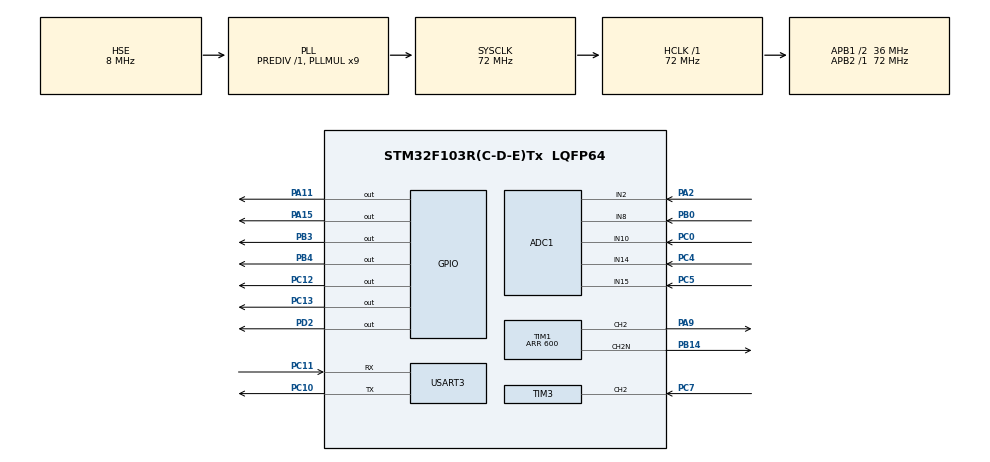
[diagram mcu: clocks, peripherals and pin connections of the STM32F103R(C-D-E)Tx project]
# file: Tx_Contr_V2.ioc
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ADC1.AutoInjectedConv=DISABLE
ADC1.Channel-0\#ChannelRegularConversion=ADC_CHANNEL_2
ADC1.Channel-1\#ChannelRegularConversion=ADC_CHANNEL_8
ADC1.Channel-2\#ChannelRegularConversion=ADC_CHANNEL_10
ADC1.Channel-3\#ChannelRegularConversion=ADC_CHANNEL_14
ADC1.Channel-4\#ChannelRegularConversion=ADC_CHANNEL_15
ADC1.InjectedDiscontinuousConvMode=DISABLE
ADC1.NbrOfConversion=5
ADC1.NbrOfConversionFlag=1
ADC1.Rank-0\#ChannelRegularConversion=1
ADC1.Rank-1\#ChannelRegularConversion=2
ADC1.Rank-2\#ChannelRegularConversion=3
ADC1.Rank-3\#ChannelRegularConversion=4
ADC1.Rank-4\#ChannelRegularConversion=5
ADC1.SamplingTime-0\#ChannelRegularConversion=ADC_SAMPLETIME_1CYCLE_5
ADC1.SamplingTime-1\#ChannelRegularConversion=ADC_SAMPLETIME_1CYCLE_5
ADC1.SamplingTime-2\#ChannelRegularConversion=ADC_SAMPLETIME_1CYCLE_5
ADC1.SamplingTime-3\#ChannelRegularConversion=ADC_SAMPLETIME_1CYCLE_5
ADC1.SamplingTime-4\#ChannelRegularConversion=ADC_SAMPLETIME_1CYCLE_5
ADC1.master=1
Dma.ADC1.1.Direction=DMA_PERIPH_TO_MEMORY
Dma.ADC1.1.Instance=DMA1_Channel1
Dma.ADC1.1.MemDataAlignment=DMA_MDATAALIGN_WORD
Dma.ADC1.1.MemInc=DMA_MINC_ENABLE
Dma.ADC1.1.Mode=DMA_NORMAL
Dma.ADC1.1.PeriphDataAlignment=DMA_PDATAALIGN_WORD
Dma.ADC1.1.PeriphInc=DMA_PINC_DISABLE
Dma.ADC1.1.Priority=DMA_PRIORITY_LOW
Dma.Request0=USART3_TX
Dma.Request1=ADC1
Dma.USART3_TX.0.Direction=DMA_MEMORY_TO_PERIPH
Dma.USART3_TX.0.Instance=DMA1_Channel2
Dma.USART3_TX.0.MemDataAlignment=DMA_MDATAALIGN_BYTE
Dma.USART3_TX.0.MemInc=DMA_MINC_ENABLE
Dma.USART3_TX.0.Mode=DMA_NORMAL
Dma.USART3_TX.0.PeriphDataAlignment=DMA_PDATAALIGN_BYTE
Dma.USART3_TX.0.PeriphInc=DMA_PINC_DISABLE
Dma.USART3_TX.0.Priority=DMA_PRIORITY_LOW
IWDG.Prescaler=IWDG_PRESCALER_64
Mcu.Family=STM32F1
Mcu.Name=STM32F103R(C-D-E)Tx
Mcu.Package=LQFP64
NVIC.ADC1_2_IRQn=true\:0\:0\:false\:false\:true
NVIC.DMA1_Channel1_IRQn=true\:0\:0\:false\:false\:true
NVIC.DMA1_Channel2_IRQn=true\:0\:0\:false\:false\:true
NVIC.PriorityGroup=NVIC_PRIORITYGROUP_4
NVIC.TIM3_IRQn=true\:0\:0\:false\:false\:true
NVIC.TIM7_IRQn=true\:0\:0\:false\:false\:true
NVIC.USART3_IRQn=true\:0\:0\:false\:false\:true
PA11.Signal=GPIO_Output
PA15.Signal=GPIO_Output
PA2.Signal=ADCx_IN2
PA9.Signal=S_TIM1_CH2
PB0.Signal=ADCx_IN8
PB14.Mode=PWM Generation2 CH2 CH2N
PB14.Signal=TIM1_CH2N
PB3.Signal=GPIO_Output
PB4.Signal=GPIO_Output
PC0.Signal=ADCx_IN10
PC10.Mode=Asynchronous
PC10.Signal=USART3_TX
PC11.Mode=Asynchronous
PC11.Signal=USART3_RX
PC12.Signal=GPIO_Output
PC13-TAMPER-RTC.Signal=GPIO_Output
PC4.Signal=ADCx_IN14
PC5.Signal=ADCx_IN15
PC7.Signal=S_TIM3_CH2
PD0-OSC_IN.Mode=HSE-External-Oscillator
PD0-OSC_IN.Signal=RCC_OSC_IN
PD1-OSC_OUT.Mode=HSE-External-Oscillator
PD1-OSC_OUT.Signal=RCC_OSC_OUT
PD2.Signal=GPIO_Output
ProjectManager.HeapSize=0x200
ProjectManager.StackSize=0x400
ProjectManager.TargetToolchain=MDK-ARM V5
RCC.ADCPresc=RCC_ADCPCLK2_DIV6
RCC.AHBCLKDivider=RCC_SYSCLK_DIV1
RCC.AHBFreq_Value=72000000
RCC.APB1CLKDivider=RCC_HCLK_DIV2
RCC.APB1Freq_Value=36000000
RCC.APB1TimFreq_Value=72000000
RCC.APB2Freq_Value=72000000
RCC.APB2TimFreq_Value=72000000
RCC.ClockTypeHCLK=RCC_CLOCKTYPE_HCLK
RCC.ClockTypePCLK1=RCC_CLOCKTYPE_PCLK1
RCC.ClockTypePCLK2=RCC_CLOCKTYPE_PCLK2
RCC.EnableHSE=true
RCC.EnableHSERTCDevisor=false
RCC.EnableLSE=false
RCC.EnableLSERTC=false
RCC.EnableMCOMultDivisor=false
RCC.HCLKFreq_Value=72000000
RCC.HSEState=RCC_HSE_ON
RCC.HSIState=RCC_HSI_ON
RCC.IWDGEnable=true
RCC.LSIState=RCC_LSI_ON
RCC.MCOEnable=false
RCC.OscillatorTypeHSE=RCC_OSCILLATORTYPE_HSE
RCC.OscillatorTypeHSI=RCC_OSCILLATORTYPE_HSI
RCC.OscillatorTypeLSI=RCC_OSCILLATORTYPE_LSI
RCC.PLLMUL=RCC_PLL_MUL9
RCC.PLLSource=RCC_PLLSOURCE_HSE
RCC.PLLSourceVirtual=RCC_PLLSOURCE_HSE
RCC.PLLState=RCC_PLL_ON
RCC.RTCEnable=false
RCC.SYSCLKFreq_VALUE=72000000
RCC.SYSCLKSource=RCC_SYSCLKSOURCE_PLLCLK
RCC.USBFreq_Value=72000000
SH.ADCx_IN10.0=ADC1_IN10,IN10
SH.ADCx_IN14.0=ADC1_IN14,IN14
SH.ADCx_IN15.0=ADC1_IN15,IN15
SH.ADCx_IN2.0=ADC1_IN2,IN2
SH.ADCx_IN8.0=ADC1_IN8,IN8
SH.S_TIM1_CH2.0=TIM1_CH2,PWM Generation2 CH2 CH2N
SH.S_TIM3_CH2.0=TIM3_CH2,Input_Capture2_from_TI2
TIM1.AutomaticOutput=TIM_AUTOMATICOUTPUT_DISABLE
TIM1.Channel-PWM\ Generation2\ CH2\ CH2N=TIM_CHANNEL_2
TIM1.DeadTime=5
TIM1.OCNPolarity_2=TIM_OCNPOLARITY_HIGH
TIM1.Period=600
TIM3.Channel-Input_Capture2_from_TI2=TIM_CHANNEL_2
TIM3.Period=10000
TIM3.Prescaler=71
TIM7.Period=50
TIM7.Prescaler=71
TIM7.TIM_MasterSlaveMode=TIM_MASTERSLAVEMODE_DISABLE
USART3.HwFlowCtl-Asynchronous=UART_HWCONTROL_NONE
USART3.VirtualMode=VM_ASYNC
VP_IWDG_VS_IWDG.Mode=IWDG_Activate
VP_SYS_VS_ND.Mode=No_Debug
VP_TIM7_VS_ClockSourceINT.Mode=Enable_Timer
board=Tx_Contr_V2

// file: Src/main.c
/**
  ******************************************************************************
  * File Name          : main.c
  * Description        : Main program body
  ******************************************************************************
  *
  * COPYRIGHT(c) 2019 STMicroelectronics
  *
  * Redistribution and use in source and binary forms, with or without modification,
  * are permitted provided that the following conditions are met:
  *   1. Redistributions of source code must retain the above copyright notice,
  *      this list of conditions and the following disclaimer.
  *   2. Redistributions in binary form must reproduce the above copyright notice,
  *      this list of conditions and the following disclaimer in the documentation
  *      and/or other materials provided with the distribution.
  *   3. Neither the name of STMicroelectronics nor the names of its contributors
  *      may be used to endorse or promote products derived from this software
  *      without specific prior written permission.
  *
  * THIS SOFTWARE IS PROVIDED BY THE COPYRIGHT HOLDERS AND CONTRIBUTORS "AS IS"
  * AND ANY EXPRESS OR IMPLIED WARRANTIES, INCLUDING, BUT NOT LIMITED TO, THE
  * IMPLIED WARRANTIES OF MERCHANTABILITY AND FITNESS FOR A PARTICULAR PURPOSE ARE
  * DISCLAIMED. IN NO EVENT SHALL THE COPYRIGHT HOLDER OR CONTRIBUTORS BE LIABLE
  * FOR ANY DIRECT, INDIRECT, INCIDENTAL, SPECIAL, EXEMPLARY, OR CONSEQUENTIAL
  * DAMAGES (INCLUDING, BUT NOT LIMITED TO, PROCUREMENT OF SUBSTITUTE GOODS OR
  * SERVICES; LOSS OF USE, DATA, OR PROFITS; OR BUSINESS INTERRUPTION) HOWEVER
  * CAUSED AND ON ANY THEORY OF LIABILITY, WHETHER IN CONTRACT, STRICT LIABILITY,
  * OR TORT (INCLUDING NEGLIGENCE OR OTHERWISE) ARISING IN ANY WAY OUT OF THE USE
  * OF THIS SOFTWARE, EVEN IF ADVISED OF THE POSSIBILITY OF SUCH DAMAGE.
  *
  ******************************************************************************
  */
#include "main.h"
#include "stm32f1xx_hal.h"
#include "adc.h"
#include "dma.h"
#include "iwdg.h"
#include "tim.h"
#include "usart.h"
#include "gpio.h"

/* USER CODE BEGIN PV */
/* Private variables ---------------------------------------------------------*/
//以下是单体桩自身信息
uint8_t Charger_ID;//充电桩编号
uint8_t Charger_State;//充电桩当前状态
uint8_t Charger_Start_Permission;//允许开启充电标志
/***********************************************************
允许开启充电标志仅通过开启指令置1，并将在以下状况出现时清0：
-----正常充电结束
-----命令停止充电
-----红外信号长时中断
-----效率持续过低
-----发射端电流过大或其他故障发生

***********************************************************/

//以下是接收端的相关参数
uint16_t Vot_Rec_Battery,Cur_Rec_Battery,Temp_Rec_Battery;//接收端电池电压、电流、温度
uint32_t Bike_ID;//存储接收到的车辆编码

uint16_t OneSec_Cnt;//一秒钟定时计数，测试使用
uint8_t OneSec_Flag;

//以下是发射端的相关参数
uint32_t ADC_ConvertedValue[5];//存储AD采样结果
uint16_t Vot_Trans_DC,Cur_Trans_DC,Cur_Trans_AC,Temp_Trans_MOS,LED_Trans_Port;
//依次是发射端电压，发射端电流，交流电流幅值，逆变区温度，LED端口电压
uint16_t Freq_Value,Fre_Trans_Inverter,Duty_Trans_Inverter;
uint8_t Fault_Type;//故障类型，值为1-32，高优先级的故障类型可以覆盖低优先级的故障类型
uint8_t Frequency_Scan_State;//表征当前扫频状态
uint16_t Max_Cur_Trans_DC;//记录最大扫频电流值
uint32_t Max_Cur_Trans_Frequency;//记录最大扫频电流值对应的频率点
uint8_t Trans_OverCurrent_Alert;//发射端过电流告警
uint8_t Trans_OverCurrent_Alert_Read;//置1表示过流告警已被主程序知晓
uint16_t Vot_Limit_Trans,Cur_Limit_Trans;//发射端充电控制的电压电流限值，通过充电指令下发
uint16_t Charging_ComptCnt;//充电完成计数
uint8_t Low_Efficiency_Cnt;//低效率计数
uint8_t Low_Efficiency_Restart_Cnt;//在效率持续过低时，系统会重新扫频，用该变量进行重新扫频计数，超过3次后，结束充电
uint8_t Relay_State;//备用
uint16_t Power_Trans_Refer_Int;//把参考功率转化为整形变量，通过485传送给总控

//以下是红外接收所使用的变量
uint8_t RmtSta,RDATA;//RDATA用以标识当前是上升沿捕获还是下降沿捕获
//[7]:收到引导码标志
//[6]:接收到了一个红外的所有信息，标志完成了一次接收
//[5]：保留
//[4]:标记上升沿是否已经被捕获
//[3:0]:溢出计时器
uint16_t Dval[35];//下降沿时计数器的值
uint32_t RmtRec=0;//红外接收到的数据
uint32_t RmtRecTx=0;//用来串口发射
uint8_t CapCnt=0;//捕获次数
uint16_t Tep;
uint8_t Zhen_Jiaoyan,Data_Jiaoyan;//Zhen_Jiaoyan就是取字头，判断是第几帧，Data_Jiaoyan是判断内部的数据校验
uint8_t Flag_Infrared_Error;//红外接收错误计数
uint8_t Infrared_Error_Location;

uint32_t Infrared_Rec_Succ_Cnt;//红外接收成功计数
uint16_t Infrared_Decode_Error_Cnt;//红外解码错误计数
uint32_t Infrared_Waiting_First_Cnt;//第一类帧延时计数
uint32_t Infrared_Waiting_First_First_Cnt;//第一类帧第一分帧延时计数
uint32_t Infrared_Waiting_First_Second_Cnt;//第一类帧第二分帧延时计数
uint32_t Infrared_Waiting_Second_Cnt;//第二类帧延时计数
uint32_t Infrared_Waiting_Third_Cnt;//第三类帧延时计数
uint32_t Infrared_Rec_Error_Cnt;//红外接收错误计数
uint8_t  Flag_Infrared_Data_OK;//表征数据解析OK，可根据该标志进行控制
uint16_t Infrared_Total_Waiting_Cnt;//表征有多长时间未接收到任意类型的红外信号，超过60s，清零接收成功、解码错误、接收错误等计数
uint32_t Infrary_First_Data_First,Infrary_First_Data_Second;

//485通信相关变量
uint8_t Flag_Trans_Done,Flag_Rece_Done,TimeCnt485;
uint8_t Flag_StartByte;//表征是否检测到字头
uint8_t Byte_Cnt;//对接收字节的数量进行计数
uint8_t Data_ReceArray[8];//存储接收到的串口数据，8个字节为一组，超时未接收完成则全部舍弃
uint8_t Data_ReceSingle;//单个接收字节
uint8_t Flag_485_Reset;//每隔5秒，判断一下485的状态，并作相应处理

uint8_t All_Data_Package[89];//全部信息打包
uint8_t State_Data_Package[11];//状态信息打包
uint8_t Limit_Data_Package[11];//电压及电流限值信息打包
uint8_t Frequency_Data_Package[11];//扫频信息单个频点数据打包

//故障现场数据存储
uint16_t Field_Vot_Trans_DC,Field_Cur_Trans_DC,Field_Cur_Trans_AC,Field_Temp_Trans_MOS,Field_Duty_Trans_Inverter;
uint16_t Field_Vot_Rec_Battery,Field_Cur_Rec_Battery,Field_Temp_Rec_Battery;
uint32_t Field_Freq_Value;
//发射端电压限值电流限值、接收端电压限值电流限值、接收端工作模式在充电过程中并不改变，无需保存现场

//功率效率计算
double Power_Trans,Power_Trans_Refer,Power_Rece,Efficiency,Power_Trans_Refer_Upper;
double K_Power_Trans,K_Power_Rece;

//根据温度值，每隔10s，更新一次功率限值
uint16_t Temp_Refresh_Cnt;
uint8_t  Flag_Temp_Refresh;

//FLASH读取数据
uint32_t ReadFlashData;

//定义控制变量
int16_t Duty_Out;
int32_t DOut,OldOut;
double Power_Error,DError,OldError;
double OldError=0;

/* USER CODE END PV */

void SystemClock_Config(void);
void Error_Handler(void);

/* USER CODE BEGIN PFP */
/* Private function prototypes -----------------------------------------------*/
void Variable_Init(void);//变量初始化赋值
void All_Data_Trans_Packing(void);//全部信息打包
void State_Data_Trans_Packing(void);//状态信息打包
void Limit_Data_Trans_Packing(void);//电压及电流限值信息打包
void Frequency_Data_Trans_Packing(void);//频率信息打包

//红外数据接收解码
void Data_Decode(void);//接收数据解码
void Decode_First(void);//第一类帧解码
void Decode_Second(void);//第二类帧解码
void Decode_Third(void);//第三类帧解码

//扫频函数声明
void Frequency_Scan(void);//调参阶段不带485的扫频
void Frequency_Scan485(void);//根据指令需要的，带485通信的扫频
void Charging_Preparing(void);//扫频成功，进行充电前的各项准备
void Charging_Stopping(void);//红外中断或充电完成或效率持续过低，终止充电

//清空接收端变量
void Clear_Rece_Variables(void);

//故障现场保护
void Fault_Field_Save(void);

//FLASH读写函数声明
uint32_t ReadFlash(uint32_t Address);//读指定位置上的数值，一次读取4个字节
void WriteFlash(uint32_t Address);//向指定地址上写数据，半字操作，即一次写入两个字节

/* USER CODE END PFP */

int main(void)
{

  /* USER CODE BEGIN 1 */
	uint8_t ss,sum;//ss用来做求和校验时for循环使用，sum用来做求和结果
  /* USER CODE END 1 */

  /* MCU Configuration----------------------------------------------------------*/

  /* Reset of all peripherals, Initializes the Flash interface and the Systick. */
  HAL_Init();

  /* Configure the system clock */
  SystemClock_Config();

  /* Initialize all configured peripherals */
  MX_GPIO_Init();
  MX_DMA_Init();
  MX_ADC1_Init();
  MX_USART3_UART_Init();
  MX_TIM1_Init();
  MX_TIM3_Init();
  MX_IWDG_Init();
  MX_TIM7_Init();

  /* USER CODE BEGIN 2 */
	//__HAL_IWDG_START(&hiwdg);//定时1.68秒
	//变量初始化，包括车辆ID的读取，以及一些状态变量的设定
	Variable_Init();
	//使能485接收，开启中断单字节接收模式
	Rece_485_En();
	HAL_UART_Receive_IT(&huart3,&Data_ReceSingle,1);

	//开启定时器3通道2输入捕获，用以红外接收
	HAL_TIM_Base_Start_IT(&htim3);
	HAL_TIM_IC_Start_IT(&htim3,TIM_CHANNEL_2);

	LED_SWITCH_OFF();
	//开启基本定时器7
	HAL_TIM_Base_Start_IT(&htim7);

	/*HAL_TIM_PWM_Start(&htim1,TIM_CHANNEL_2);
	HAL_TIMEx_PWMN_Start(&htim1,TIM_CHANNEL_2);
	Freq_Value=696;
	TIM1->ARR=Freq_Value;
	Duty_Trans_Inverter=Freq_Value/2;
	htim1.Instance->CCR2=Duty_Trans_Inverter;*/

  /* USER CODE END 2 */

  /* Infinite loop */
  while (1)
  {

  /* USER CODE BEGIN 3 */
		//485接收到完整指令，解析指令
		if(Flag_StartByte)
		{
			if(TimeCnt485>50)//已检测到字头，但50ms内未接收完成8个字节，则复位重新接收
			{
				Flag_StartByte=0;
				TimeCnt485=0;
				Byte_Cnt=0;
			}
		}
		//定时时间到，判断485状态，并总是设置为单字节接收模式
		if(Flag_485_Reset)
		{
			Flag_485_Reset=0;
			if(HAL_UART_GetState(&huart3)==HAL_UART_STATE_READY)
			{
				Rece_485_En();
				HAL_UART_Receive_IT(&huart3,&Data_ReceSingle,1);
			}
			else if(HAL_UART_GetState(&huart3)==HAL_UART_STATE_RESET)
			{
				MX_USART3_UART_Init();
				Rece_485_En();
				HAL_UART_Receive_IT(&huart3,&Data_ReceSingle,1);
			}
			else if(HAL_UART_GetState(&huart3)==HAL_UART_STATE_ERROR)
			{
				MX_USART3_UART_Init();
				Rece_485_En();
				HAL_UART_Receive_IT(&huart3,&Data_ReceSingle,1);
			}
			else
				;
		}

		//每隔10秒，更新温度对应的功率上限值
		if(Flag_Temp_Refresh)
		{
			Flag_Temp_Refresh=0;
			if(Temp_Trans_MOS>900)
			{
				Power_Trans_Refer_Upper=200;
			}
			else
			{
				Power_Trans_Refer_Upper=0.333*Temp_Trans_MOS-100;
			}
		}

		if(Flag_Rece_Done)//接收完成8个字节的有效数据，进行处理
		{
			Flag_Rece_Done=0;//先清零接收完成标志
			Data_ReceArray[1]=~Data_ReceArray[1];//先把接收到的编号反码取反
			if(Data_ReceArray[0]==Data_ReceArray[1])//判断接收到的编码是否有误
			{//接收正确的情况下，再判断该编码是否为自身编码
				//LED1_TOGGLE();
				if(Data_ReceArray[0]==Charger_ID)
				{//编码接收正确，且为自身编码，才确定是轮询对象，继续解析指令

					switch(Data_ReceArray[2])
					{
						case 0x0F://查询状态，返回状态结果
						{
							Trans_485_En();
							State_Data_Trans_Packing();
							HAL_UART_Transmit_DMA(&huart3,State_Data_Package,sizeof(State_Data_Package));
							break;
						}
						case 0x1E://开启充电，返回电压限值、电流限值以及继电器状态
						{
							//先判断校验
							sum=0;
							for(ss=3;ss<7;ss++)
							{
								sum+=Data_ReceArray[ss];
							}
							if(sum==Data_ReceArray[7])
							{
								//在进行充电模式转换之前，电压限值要与接收端进行核对，不成功则进行报错
								Vot_Limit_Trans=Data_ReceArray[3]+(Data_ReceArray[5]&0xf0)*16;//提取电压限值数据
								Cur_Limit_Trans=Data_ReceArray[4]+(Data_ReceArray[5]&0x0f)*256;//提取电流限值数据
								Relay_State=Data_ReceArray[6];

								//收到充电指令，清零与接收端和充电过程有关的故障，以及充电完成标志
								Charger_State&=0xf8;//将接收端不可修复故障位，及问题事件标志位，以及充电完成标志位清零，& = 1111, 1000
								if(Fault_Type<16)
									Fault_Type=0;//如果不存在发射端不可修复故障，则将故障类型设为最低

								if((Charger_State&0x80)&&((Charger_State&0x60)==0x00))//检测到车辆，且系统处于停止态，才能对该指令做出响应
								{
									Charging_ComptCnt=0;//充电完成计数清零
									Charger_Start_Permission=1;//允许充电开启
									Trans_485_En();
									Limit_Data_Trans_Packing();//充电限值数据打包
									HAL_UART_Transmit_DMA(&huart3,Limit_Data_Package,sizeof(Limit_Data_Package));
								}
							}
							break;
						}
						case 0x2D://停止充电，返回状态结果
						{
						  Charging_Stopping();
							Trans_485_En();
							State_Data_Trans_Packing();
							HAL_UART_Transmit_DMA(&huart3,State_Data_Package,sizeof(State_Data_Package));
							break;
						}
						case 0x3C://开启扫频
						{
							if((Charger_State&0x60)==0)//先判断是否处于停止态，只有处于停止态，才可以进行扫频动作
							{
								//扫频占空比由指令下发，无论是否检测到车辆，均按指定占空比进行扫频
								Data_ReceArray[4]=~Data_ReceArray[4];//先把继电器反码取反
								if(Data_ReceArray[3]==Data_ReceArray[4])//如果继电器数据有问题，不做应答，总控重下指令
								{
									sum=Data_ReceArray[5]+Data_ReceArray[6];
									if(Data_ReceArray[7]==sum)//判断指令中数据校验是否正确
									{
										Duty_Trans_Inverter=Data_ReceArray[6]*256;
										Duty_Trans_Inverter+=Data_ReceArray[5];//读取指令指定的占空比信息
										htim1.Instance->CCR2=Duty_Trans_Inverter;//先设定扫频占空比
										//设置状态位为指令扫频状态
										Charger_State&=0xBF;//& = 1011 1111 对第七位进行清零
										Charger_State|=0x20;//| = 0010 1111 对第六位进行置1
										Frequency_Scan485();//带485通信的扫频
										Duty_Trans_Inverter=0;//扫频结束，关闭BUCK
										htim1.Instance->CCR2=Duty_Trans_Inverter;
										Freq_Value=0xffff;
							      TIM1->ARR=Freq_Value;//将定时器重装载寄存器填满，降低频率
	                  htim1.Instance->CCR2=0;
	                  HAL_TIM_Base_Stop(&htim1);
	                  HAL_TIM_PWM_Stop(&htim1,TIM_CHANNEL_2);
										Charger_State&=0x9F;//扫频完成，对第七和第六位进行清零，恢复状态位为停止态
									}
								}
							}
							//扫频之前应首先判断是否检测到了车辆，是则使用大占空比，否则使用小占空比
							break;
						}
						case 0x4B://读取单体桩全部信息，返回全部数据
						{
							Trans_485_En();
							All_Data_Trans_Packing();
							HAL_UART_Transmit_DMA(&huart3,All_Data_Package,sizeof(All_Data_Package));
							break;
						}
						case 0x5A://点亮广告灯
						{
							LED_SWITCH_ON();
							Trans_485_En();
							State_Data_Trans_Packing();
							HAL_UART_Transmit_DMA(&huart3,State_Data_Package,sizeof(State_Data_Package));
							break;
						}
						case 0x69://清零复位标志，返回状态信息
						{
							Charger_State&=0xf7;//清零复位标志
							Trans_485_En();
							State_Data_Trans_Packing();
							HAL_UART_Transmit_DMA(&huart3,State_Data_Package,sizeof(State_Data_Package));
							break;
						}
						case 0x78://关闭广告灯
						{
							LED_SWITCH_OFF();
							Trans_485_En();
							State_Data_Trans_Packing();
							HAL_UART_Transmit_DMA(&huart3,State_Data_Package,sizeof(State_Data_Package));
						}
						default: break;
					}
				}
				else if(Data_ReceArray[0]==0xff)//修改单体桩自身ID的指令
				{
					Data_ReceArray[3]=~Data_ReceArray[3];
					if(Data_ReceArray[2]==Data_ReceArray[3])//先校验设定的ID值是否有误
					{
						//设定的ID值通过校验，允许修改及应答
						Charger_ID=Data_ReceArray[2];
						if(Charger_ID>200)
							Charger_ID=101;
						WriteFlash(FLASH_RW_StartAddress);
						Trans_485_En();
						State_Data_Trans_Packing();
						HAL_UART_Transmit_DMA(&huart3,State_Data_Package,sizeof(State_Data_Package));
					}
				}
				else
					;
			}
		}

		//红外接收成功，解析数据
		if(RmtSta&(1<<6))
		{
			if(~Infrared_Rec_Succ_Cnt)//当该变量达到满值全1时，取反即为0，计数就会停止增加
				Infrared_Rec_Succ_Cnt++;
			Infrared_Total_Waiting_Cnt=0;//一旦接收成功，就将红外接收总等待计数清零
			RmtSta&=~(1<<6);//接收成功标志位清零
			Data_Decode();//数据解析
		}
		//红外接收错误，增加错误标志
		if(Flag_Infrared_Error)
		{
			Flag_Infrared_Error=0;
			if(Infrared_Rec_Error_Cnt<0xffffffff)//达到满1时取反为0.停止计数
				Infrared_Rec_Error_Cnt++;
		}
		if(Infrared_Waiting_First_Cnt>3000)//只有处于停止态时，才会进行第一类帧计数自增，停止态如果连续3次收不到编号信息，则设置为未检测到车辆状态
		{
			Charger_State&=0x7f;//超过10s未完整接收第一类帧，认为未检测到车辆，设置标志位
		}
		//如果长时间未接收到任意红外信号，则将接收成功计数、接收失败计数、解码错误计数清零，准备重新计数，该时间段应大于切换到停止态所需要的红外延时计数
		if(Infrared_Total_Waiting_Cnt>60000)//超过60s未接收到任意红外信号
		{
			Infrared_Rec_Succ_Cnt=0;
			Infrared_Decode_Error_Cnt=0;
			Infrared_Rec_Error_Cnt=0;
		}

		//未检测到车辆，LED1熄灭
		if(Charger_State&0x80)//取最高位，判断有无车辆
		{
			LEDG_ON();
		}
		else
		{
			LEDG_OFF();
		}

		if(OneSec_Flag)
		{
			OneSec_Flag=0;
			//Trans_485_En();
			//Power_Int=Power_Trans;
			//printf("Cur_Trans_AC=%d\n",Cur_Trans_AC);
		}

		//状态切换与控制
		switch(Charger_State&0x60)//提取当前工作状态，即状态变量第6-7位
		{
			case 0x00://0000，0000 停止态，该状态中进行条件判断，满足条件后切换到工作状态
			{
				Power_Trans_Refer=0;//参考功率设为零
				if(!Charger_Start_Permission)//未允许开启充电
				{
					//Duty_Trans_Inverter=0;
					//htim1.Instance->CCR1=Duty_Trans_Inverter;//关闭逆变器
				}

				if(Charger_State&0x10)//提取故障位，判断是否存在发射端不可修复故障，该位置1表示有故障
				{//存在发射端故障
					Charger_Start_Permission=0;//存在发射端故障，关闭充电开启允许标志
				}
				else
				{//发射端正常
					if(Charger_State&0x80)//提取车辆检测标志位，检测到车辆才能开启充电
					{
						if(Charger_Start_Permission)//是否有指令允许开启充电
						{
							//先设置系统状态为调参扫频态
							Charger_State|=0x40;//第七位置1，|=0100 0000
							Charger_State&=0xDF;//第六位清0，&=1101 1111
							Frequency_Scan();
						}
					}
				}
				break;
			}
			case 0x60://0110，0000 正常充电状态，该状态中进行条件判断，满足条件后切换到停止态
			{
				if(Infrared_Waiting_Second_Cnt<3000)
				{
					if(Flag_Infrared_Data_OK)
					{
						Flag_Infrared_Data_OK=0;//每次控制清零，再次接收到新的数据再置1
						Power_Rece=Vot_Rec_Battery*Cur_Rec_Battery*K_Power_Rece;
						/*****************************接收端功率不足调节**************************/
						if(Vot_Rec_Battery<Vot_Limit_Trans)//恒流段
						{
							if(Cur_Rec_Battery<Cur_Limit_Trans)
							{
								if(Cur_Rec_Battery<Cur_Limit_Trans/4)
								{
									Power_Trans_Refer+=10;
								}
								else if(Cur_Rec_Battery<Cur_Limit_Trans/2)
								{
									Power_Trans_Refer+=5;
								}
								else if(Cur_Rec_Battery<Cur_Limit_Trans-500)
								{
									Power_Trans_Refer+=2;
								}
								else
								{
									Power_Trans_Refer+=1;
								}
							}
							else
							{
								if(Cur_Rec_Battery>Cur_Limit_Trans+500)
								{
									Power_Trans_Refer-=5;
								}
								else if(Cur_Rec_Battery>Cur_Limit_Trans+300)
								{
									Power_Trans_Refer-=2;
								}
								else
								{
									Power_Trans_Refer-=1;
								}
							}
						}
						else if(Vot_Rec_Battery<Vot_Limit_Trans)
						{
							Power_Trans_Refer+=1;//电压不足就增加功率
						}
						else//恒压段
						{
							Power_Trans_Refer-=1;//过电压就降功率
						}
					}
				}
				else if(Infrared_Waiting_Second_Cnt<30000)//红外延时在3-30s之间，降低等待功率
				{
					if(Power_Trans_Refer>Power_Trans_Refer_Waiting)
					//过流保护等场合可能会让参考功率更小，此时不应增大参考功率
					{
						Power_Trans_Refer=Power_Trans_Refer_Waiting;
					}
				}
				else//红外延时在30s以上，应回到停止态
				{
					Charger_State|=0x01;//将问题事件标志位置1
					//故障记录，先记录现场，再关闭系统
					if(Fault_Type<FaultLevel_InfraryStop)//先判断优先级，高优先级故障不可被替代
					{
						Fault_Type=FaultLevel_InfraryStop;
						Fault_Field_Save();
					}
					Charging_Stopping();
				}
				break;
			}
			default:
			{
				Charging_Stopping();
				break;
			}
		}
  }
  /* USER CODE END 3 */

}

/** System Clock Configuration
*/
void SystemClock_Config(void)
{

  RCC_OscInitTypeDef RCC_OscInitStruct;
  RCC_ClkInitTypeDef RCC_ClkInitStruct;
  RCC_PeriphCLKInitTypeDef PeriphClkInit;

    /**Initializes the CPU, AHB and APB busses clocks
    */
  RCC_OscInitStruct.OscillatorType = RCC_OSCILLATORTYPE_HSE;
  RCC_OscInitStruct.HSEState = RCC_HSE_ON;
  RCC_OscInitStruct.HSEPredivValue = RCC_HSE_PREDIV_DIV1;
  RCC_OscInitStruct.LSIState = RCC_LSI_ON;
  RCC_OscInitStruct.PLL.PLLState = RCC_PLL_ON;
  RCC_OscInitStruct.PLL.PLLSource = RCC_PLLSOURCE_HSE;
  RCC_OscInitStruct.PLL.PLLMUL = RCC_PLL_MUL9;
  if (HAL_RCC_OscConfig(&RCC_OscInitStruct) != HAL_OK)
  {
    Error_Handler();
  }

    /**Initializes the CPU, AHB and APB busses clocks
    */
  RCC_ClkInitStruct.ClockType = RCC_CLOCKTYPE_HCLK|RCC_CLOCKTYPE_SYSCLK
                              |RCC_CLOCKTYPE_PCLK1|RCC_CLOCKTYPE_PCLK2;
  RCC_ClkInitStruct.SYSCLKSource = RCC_SYSCLKSOURCE_PLLCLK;
  RCC_ClkInitStruct.AHBCLKDivider = RCC_SYSCLK_DIV1;
  RCC_ClkInitStruct.APB1CLKDivider = RCC_HCLK_DIV2;
  RCC_ClkInitStruct.APB2CLKDivider = RCC_HCLK_DIV1;

  if (HAL_RCC_ClockConfig(&RCC_ClkInitStruct, FLASH_LATENCY_2) != HAL_OK)
  {
    Error_Handler();
  }

  PeriphClkInit.PeriphClockSelection = RCC_PERIPHCLK_ADC;
  PeriphClkInit.AdcClockSelection = RCC_ADCPCLK2_DIV6;
  if (HAL_RCCEx_PeriphCLKConfig(&PeriphClkInit) != HAL_OK)
  {
    Error_Handler();
  }

    /**Configure the Systick interrupt time
    */
  HAL_SYSTICK_Config(HAL_RCC_GetHCLKFreq()/1000);

    /**Configure the Systick
    */
  HAL_SYSTICK_CLKSourceConfig(SYSTICK_CLKSOURCE_HCLK);

  /* SysTick_IRQn interrupt configuration */
  HAL_NVIC_SetPriority(SysTick_IRQn, 0, 0);
}

/* USER CODE BEGIN 4 */
void HAL_SYSTICK_Callback(void)
{
	//485通信相关计时及标志
	if(Flag_StartByte)//检测到485字头，开启计时，超时未接收完，则舍弃全部接收到的数据，重新检测字头
	{
		if(TimeCnt485<255)
		{
			TimeCnt485++;
			if(TimeCnt485>50)//已检测到字头，但50ms内未接收完成6个字节，则复位重新接收
			{
				Flag_StartByte=0;
				TimeCnt485=0;
				Byte_Cnt=0;
			}
		}
	}

	if(Infrared_Total_Waiting_Cnt<0xffff)
	{
		Infrared_Total_Waiting_Cnt++;
	}

	if(Temp_Refresh_Cnt<0xffff)//10s钟更新一次功率限值
	{
		Temp_Refresh_Cnt++;
		if(Temp_Refresh_Cnt>10000)
		{
			Temp_Refresh_Cnt=0;
			Flag_Temp_Refresh=1;
			Flag_485_Reset=1;//对于485的状态，也是每隔10S进行一次检查
		}
	}

	if((Charger_State&0x60)==0)//停止态，进行第一类帧计数和第二类帧计数
	{
		if(Infrared_Waiting_First_Cnt<0xffffffff)//该计数满1时取反为0，不再计数，未满则自增
		{
			Infrared_Waiting_First_Cnt++;
		}
		if(Infrared_Waiting_First_First_Cnt<0xffffffff)//该计数满1时取反为0，不再计数，未满则自增
		{
			Infrared_Waiting_First_First_Cnt++;
		}
		if(Infrared_Waiting_First_Second_Cnt<0xffffffff)//该计数满1时取反为0，不再计数，未满则自增
		{
			Infrared_Waiting_First_Second_Cnt++;
		}
		if(Infrared_Waiting_Second_Cnt<0xffffffff)
		{
			Infrared_Waiting_Second_Cnt++;
		}
	}
	//SysTick中只进行计数自加，在红外解码函数中进行清零
	if((Charger_State&0x60)==0x60)//正常充电状态，进行第二类帧计数和第三类帧计数
	{
		if(Infrared_Waiting_Second_Cnt<0xffffffff)
		{
			Infrared_Waiting_Second_Cnt++;
		}
		if(Infrared_Waiting_Third_Cnt<0xffffffff)
		{
			Infrared_Waiting_Third_Cnt++;
		}
	}
	if(OneSec_Cnt<1000)
	{
		OneSec_Cnt++;
		if(OneSec_Cnt>=1000)
		{
			OneSec_Flag=1;
			OneSec_Cnt=0;
		}
	}
}

//红外接收中断处理，定时器2通道1
void HAL_TIM_PeriodElapsedCallback(TIM_HandleTypeDef *htim)
{
	if(htim->Instance==TIM7)//定时器7中断频率20k，中断中开启ADC
	{
		HAL_ADC_Start_DMA(&hadc1,ADC_ConvertedValue,5);
	}
	if(htim->Instance==TIM3)//本函数处理定时器3通道2的溢出中断
	{
		if(__HAL_TIM_GET_IT_SOURCE(htim,TIM_IT_UPDATE) !=RESET)
		{
			RmtSta&=~0x10;//取消上升沿已被捕获标记
			RmtSta&=~(1<<7);//一旦出现过长延时，即清空引导标志，重新等待引导码
			__HAL_TIM_SET_CAPTUREPOLARITY(htim,TIM_CHANNEL_2,TIM_INPUTCHANNELPOLARITY_RISING);
			RDATA=1;
			CapCnt=0;//重新计位
			if((RmtSta&0x0f)<14)
				RmtSta++;//记录溢出次数
			else
			{
				RmtSta&=0xf0;//清空计数器
			}
		}
	}
	__HAL_TIM_CLEAR_FLAG(htim,TIM_FLAG_UPDATE);
}
void HAL_TIM_IC_CaptureCallback(TIM_HandleTypeDef *htim)
{
	if(htim->Instance==TIM3)//本函数处理TIM2通道2的输入捕获中断
	{
		if(__HAL_TIM_GET_IT_SOURCE(htim, TIM_IT_CC2) !=RESET)
		{
			if(RDATA)//上升沿捕获标志
			{
				//下降沿捕获
				__HAL_TIM_SET_CAPTUREPOLARITY(htim,TIM_CHANNEL_2,TIM_INPUTCHANNELPOLARITY_FALLING);
				//清空计数器
				__HAL_TIM_SET_COUNTER(htim,0);
				RmtSta|=0x10;
				RDATA=0;
			}
			else//下降沿捕获
			{
				__HAL_TIM_SET_CAPTUREPOLARITY(htim,TIM_CHANNEL_2,TIM_INPUTCHANNELPOLARITY_RISING);
				RDATA=1;
				if(RmtSta&0x10)//已捕获一次高电平
				{
					RmtSta&=~(1<<4);//清除掉已捕获上升沿标志，下次捕获上升沿时再标记
					Dval[CapCnt]=__HAL_TIM_GET_COUNTER(htim);
					if(RmtSta&0x80)//已收到引导码
					{
						if((Dval[CapCnt]>400)&&(Dval[CapCnt]<800))//560为标准值,560us
						{
							if(CapCnt<32)
							{
								RmtRec<<=1;//左移一位，低位补0
								CapCnt++;
								if(CapCnt>=32)
								{
									RmtSta|=1<<6;//标志已完成一次接收
									RmtSta&=~(1<<7);//已接收到引导码，且已存储32位信息，停止引导，标记完成接收
									RmtRecTx=RmtRec;
								}
							}
						}
						else if((Dval[CapCnt]>1000)&&(Dval[CapCnt]<1800))//1680为标准值,1680us
						{
							if(CapCnt<32)
							{
								RmtRec<<=1;
								RmtRec+=1;//左移一位，低位补1
								CapCnt++;
								if(CapCnt>=32)
								{
									RmtSta|=1<<6;//标志已完成一次接收
									RmtSta&=~(1<<7);//已接收到引导码，且已存储32位信息，停止引导，标记完成接收
									RmtRecTx=RmtRec;
								}
							}
						}
						else
						{
							Flag_Infrared_Error=1;
							Infrared_Error_Location=CapCnt;
							Tep=Dval[CapCnt];
							RmtSta&=~(1<<7);
						}
					}
					else if(Dval[CapCnt]>4000&&Dval[CapCnt]<5000) //4500为标准值4.5 ms，判定引导码
					{
						RmtSta|=1<<7;//标记成功接收到引导码
						CapCnt=0;
						RmtRec=0;
					}
				}
			}
		__HAL_TIM_CLEAR_FLAG(htim,TIM_FLAG_CC2);
		}
	}
}

//AD中断做控制

#define Duty_Upper Freq_Value/2 //占空比不超过50%，即不超过分频系数的一半
#define Kp_PI 0.1
#define Ki_PI 0.1

void HAL_ADC_ConvCpltCallback(ADC_HandleTypeDef* hadc)
{
	//获得采样值
	Cur_Trans_AC=ADC_ConvertedValue[0]&0xfff;
	Temp_Trans_MOS=ADC_ConvertedValue[1]&0xfff;
	LED_Trans_Port=ADC_ConvertedValue[2]&0xfff;
	Cur_Trans_DC=ADC_ConvertedValue[3]&0xfff;
	Vot_Trans_DC=ADC_ConvertedValue[4]&0xfff;
	//计算发射功率
	Power_Trans=Vot_Trans_DC*Cur_Trans_DC;
	Power_Trans=Power_Trans*K_Power_Trans;

	if((Charger_State&0x60)==0x60)//只有处于充电态才执行占空比调节
	{
		/*Power_Error=Power_Trans_Refer-Power_Trans;
		DError=Power_Error-OldError;
		OldError=Power_Error;
		//谐振电流值不超出限定值时，才对功率进行调节，如果超出，则降低占空比
		if(Cur_Trans_AC<=Max_Cur_Trans_AC)
		{
			DOut=DError*Kp_PI+Power_Error*Ki_PI;
			Duty_Out=OldOut+DOut;

			if(Duty_Out>Duty_Upper)
			{
				Duty_Out=Duty_Upper;
			}
			else if(Duty_Out<0)
			{
				Duty_Out=0;
			}
			else
			{
				OldOut=Duty_Out;
			}
		}
		else
		{
			Duty_Out=0;
			Power_Trans_Refer=0;
		}
		Duty_Trans_Inverter=Duty_Out;*/
		if(Power_Trans>Power_Trans_Refer)
		{
			if(Duty_Trans_Inverter>0)
				Duty_Trans_Inverter-=1;
		}
		else
		{
			if(Duty_Trans_Inverter<Duty_Upper)
				Duty_Trans_Inverter+=1;
		}
		htim1.Instance->CCR2=Duty_Trans_Inverter;
	}

}
//变量初始化
void Variable_Init(void)
{
	ReadFlashData=ReadFlash(FLASH_RW_StartAddress);
	Charger_ID=ReadFlashData;//取低8位，即第127页第一个字节
	if(Charger_ID>200)
		Charger_ID=101;
	if(Charger_ID==0)
		Charger_ID=101;
	//Charger_ID不可为零，出厂时因为读取的0xff，所以会自动被设定为101

	Charger_State=0x08;//未检测到车辆，停止态，无故障，有复位

	//开启红外接收
	RDATA=1;
	CapCnt=0;

	//485标志及计数
	Byte_Cnt=0;

	//功率计算系数-----需要根据新板子的情况重新设定
	K_Power_Trans=0.000115;
	K_Power_Rece=0.00002;

	//充电完成计数清零
	Charging_ComptCnt=0;
	//低效率计数清零
	Low_Efficiency_Cnt=0;
	//低效率重启计数清零
	Low_Efficiency_Restart_Cnt=0;
	//功率上限值初始化为200W
	Power_Trans_Refer_Upper=200;
  //温度更新标志清零
	Temp_Refresh_Cnt=0;
	Flag_Temp_Refresh=0;
	//485状态判断标志清零
	Flag_485_Reset=0;
	//设置占空比为零
	Duty_Trans_Inverter=0;
	htim1.Instance->CCR2=Duty_Trans_Inverter;
	//频率设为较大值
	Freq_Value=0xffff;
	TIM1->ARR=Freq_Value;//重装载寄存器填满，降低频率
}

//串口发送完成中断
void HAL_UART_TxCpltCallback(UART_HandleTypeDef *huart)
{
	Flag_Trans_Done=1;//提供发送完成标志位
	Rece_485_En();//接收使能
	HAL_UART_Receive_IT(&huart3,&Data_ReceSingle,1);//以中断模式一次接收一个字节
}
//串口接收完成中断
void HAL_UART_RxCpltCallback(UART_HandleTypeDef *huart)
{
	uint8_t temp;
	if(!Flag_StartByte)//未检测到字头，需要先检测字头
	{
		if(Data_ReceSingle==0x55)
		{
			Flag_StartByte=1;//已检测到字头，标记置1
		}
	}
	else//已检测到字头，需要填充有效数据
	{
		Data_ReceArray[Byte_Cnt]=Data_ReceSingle;
		if(Byte_Cnt<7)//有效数据8个字节，下标最多到7
		{
			Byte_Cnt++;
		}
		else//已接收满，重新检测字头，清除485计时，字节下标归0，设定标志位
		{
			Flag_StartByte=0;
			TimeCnt485=0;
			Byte_Cnt=0;
			temp=Charger_State&0x60;
			if((temp==0x00)||(temp==0x60))//即处于停止态或充电态
			{
				Flag_Rece_Done=1;//允许更新指令，其他情况不更新指令（扫频态），不做应答
			}
		}
	}
	HAL_UART_Receive_IT(&huart3,&Data_ReceSingle,1);
}

//红外接收解码
void Data_Decode(void)
{
	Zhen_Jiaoyan=(RmtRecTx>>28)&0x0f;//取帧头
	switch(Zhen_Jiaoyan)
	{
		case 3://帧头为0011
		{
			Infrared_Total_Waiting_Cnt=0;//接收到任意一帧数据，均将红外总计数清零，表示有车辆存在
			Decode_First();
			break;
		}
		case 12://帧头为1100
		{
			Infrared_Total_Waiting_Cnt=0;
			Decode_Second();
			break;
		}
		case 9://帧头为1001
		{
			Infrared_Total_Waiting_Cnt=0;
			Decode_Third();
			break;
		}
		default:
		{
			if(Infrared_Decode_Error_Cnt<0xffff)//帧头不匹配，解码错误
				Infrared_Decode_Error_Cnt++;
			break;
		}
	}
}

void Decode_First(void)
{
	uint8_t temp1;
	uint16_t jiaoyan,sum;

	Zhen_Jiaoyan=(RmtRecTx>>24)&0x0f;
	if(Zhen_Jiaoyan==3)
	{
		Infrared_Waiting_First_First_Cnt=0;//解码第一类帧第一分帧
		Infrary_First_Data_First=RmtRecTx;
	}
	else if(Zhen_Jiaoyan==9)
	{
		Infrared_Waiting_First_Second_Cnt=0;//解码第一类帧第二分帧
		Infrary_First_Data_Second=RmtRecTx;
	}
	else
	{
		if(Infrared_Decode_Error_Cnt<0xffff)//不满1则自加
		{
			Infrared_Decode_Error_Cnt++;
		}
	}
	if((Infrared_Waiting_First_First_Cnt<500)&&(Infrared_Waiting_First_Second_Cnt<500))
	{
		jiaoyan=Infrary_First_Data_Second;//取第二分帧低16位作为校验值

		sum=0;
		temp1=Infrary_First_Data_First>>16;//取第一分帧的17-24位
		sum+=temp1;
		temp1=Infrary_First_Data_First>>8;//取第一分帧的9-16位
		sum+=temp1;
		temp1=Infrary_First_Data_First;//取第一分帧的1-8位
		sum+=temp1;
		temp1=Infrary_First_Data_Second>>16;//取第二分帧的17-24位
		sum+=temp1;

		if(jiaoyan==sum)//二个分帧共同校验成功
		{
			Infrared_Waiting_First_Cnt=0;//三个分帧数据即时性均满足要求（1s以内的数据新鲜度），可认为第一类帧已完整接收
			if(Charger_State&0x80)//取最高位车辆检测标志，已检测到车辆则不做修改
			{
				;
			}
			else//未检测到车辆，则读取编号，设置车辆检测状态值
			{
				Bike_ID=0;
				temp1=Infrary_First_Data_Second>>16;
				Bike_ID+=temp1;
				Bike_ID<<=8;
				temp1=Infrary_First_Data_First;
				Bike_ID+=temp1;
				Bike_ID<<=8;
				temp1=Infrary_First_Data_First>>8;
				Bike_ID+=temp1;
				Bike_ID<<=8;
				temp1=Infrary_First_Data_First>>16;
				Bike_ID+=temp1;

				Charger_State|=0x80;//设置为已检测到车辆
			}
		}
	}
}

void Decode_Second(void)
{
	uint8_t temp1,temp2;

	Data_Jiaoyan=(RmtRecTx>>20)&0xf0;//取出25-28位数据

	temp1=0;temp2=RmtRecTx;temp1+=temp2;
	temp2=RmtRecTx>>8;temp1+=temp2;
	temp2=RmtRecTx>>16;temp1+=temp2;
	temp1&=0xf0;

	if(Data_Jiaoyan==temp1)
	{
		//校验成功，解析数据
		Vot_Rec_Battery=RmtRecTx&0xfff;
		Cur_Rec_Battery=(RmtRecTx>>12)&0xfff;
		Infrared_Waiting_Second_Cnt=0;//清零第二类帧计数
		Flag_Infrared_Data_OK=1;
	}
	else
	{
		if(Infrared_Decode_Error_Cnt<0xffff)//不满1则自加
		{
			Infrared_Decode_Error_Cnt++;
		}
	}
}

void Decode_Third(void)
{
	uint16_t temp1,temp2;

	temp1=RmtRecTx;
	temp1&=0xfff;

	temp2=RmtRecTx>>12;
	temp2&=0xfff;

	if(temp1==temp2)
	{
		Temp_Rec_Battery=temp1;
	}
	else
	{
		if(Infrared_Decode_Error_Cnt<0xffff)//不满1则自加
		{
			Infrared_Decode_Error_Cnt++;
		}
	}
}

//全部信息打包
void All_Data_Trans_Packing(void)
{
	uint8_t i;
	uint16_t Jiaoyan;
	//以下存储实时电路信息
	All_Data_Package[0]=0xaa;//代表一帧的开始
	All_Data_Package[1]=0x0f;//代表该帧数据为单体桩全部信息帧
	All_Data_Package[2]=Charger_ID;
	All_Data_Package[3]=~Charger_ID;
	All_Data_Package[4]=Charger_State;
	All_Data_Package[5]=~Charger_State;
	All_Data_Package[6]=Cur_Trans_AC;
	All_Data_Package[7]=Duty_Trans_Inverter;
	All_Data_Package[8]=(Cur_Trans_AC>>4)&0xf0;//取交流电流9-12位，放入高4位
	All_Data_Package[8]+=(Duty_Trans_Inverter>>8)&0x0f;//取发射端逆变器占空比9-12位，放入低4位
	All_Data_Package[9]=Vot_Trans_DC;
	All_Data_Package[10]=Cur_Trans_DC;
	All_Data_Package[11]=(Vot_Trans_DC>>4)&0xf0;//取输出电压9-12位，放入高4位
	All_Data_Package[11]+=(Cur_Trans_DC>>8)&0x0f;//取输出电流9-12位，放入低4位
	All_Data_Package[12]=Relay_State;
	All_Data_Package[13]=Temp_Trans_MOS;

	All_Data_Package[14]=Freq_Value;
	All_Data_Package[15]=(Freq_Value>>8)&0x0f;
	All_Data_Package[16]=(Temp_Trans_MOS>>8)&0x0f;//取温度的9-12位，放入低4位

	All_Data_Package[17]=Infrared_Rec_Succ_Cnt;
	All_Data_Package[18]=Infrared_Rec_Succ_Cnt>>8;
	All_Data_Package[19]=Infrared_Rec_Succ_Cnt>>16;
	All_Data_Package[20]=Infrared_Rec_Succ_Cnt>>24;
	All_Data_Package[21]=Infrared_Decode_Error_Cnt;
	All_Data_Package[22]=Infrared_Decode_Error_Cnt>>8;
	All_Data_Package[23]=Infrared_Waiting_First_Cnt;
	All_Data_Package[24]=Infrared_Waiting_First_Cnt>>8;
	All_Data_Package[25]=Infrared_Waiting_First_Cnt>>16;
	All_Data_Package[26]=Infrared_Waiting_First_Cnt>>24;
	All_Data_Package[27]=Infrared_Waiting_Second_Cnt;
	All_Data_Package[28]=Infrared_Waiting_Second_Cnt>>8;
	All_Data_Package[29]=Infrared_Waiting_Second_Cnt>>16;
	All_Data_Package[30]=Infrared_Waiting_Second_Cnt>>24;

	Power_Trans_Refer_Int=Power_Trans_Refer;//把double型变量转化为整形变量
	All_Data_Package[31]=Power_Trans_Refer_Int;
	All_Data_Package[32]=(Power_Trans_Refer_Int>>8)&0x0f;//取9-12位

	All_Data_Package[35]=Infrared_Rec_Error_Cnt;
	All_Data_Package[36]=Infrared_Rec_Error_Cnt>>8;

	All_Data_Package[37]=Vot_Limit_Trans;
	All_Data_Package[38]=Cur_Limit_Trans;
	All_Data_Package[39]=(Vot_Limit_Trans>>4)&0xf0;//取发射端电压限值9-12位，放入高4位
	All_Data_Package[39]+=(Cur_Limit_Trans>>8)&0x0f;//取发射端电流限值9-12位，放入低4位
	All_Data_Package[40]=Fault_Type;
	All_Data_Package[41]=Bike_ID;
	All_Data_Package[42]=Bike_ID>>8;
	All_Data_Package[43]=Bike_ID>>16;
	All_Data_Package[44]=Bike_ID>>24;

	All_Data_Package[51]=Vot_Rec_Battery;
	All_Data_Package[52]=Cur_Rec_Battery;
	All_Data_Package[53]=(Vot_Rec_Battery>>4)&0xf0;//取接收端输出电压值9-12位，放入高4位
	All_Data_Package[53]+=(Cur_Rec_Battery>>8)&0x0f;//取接收端输出电流9-12位，放入低4位
	All_Data_Package[54]=Temp_Rec_Battery;
	All_Data_Package[55]=(Temp_Rec_Battery>>8)&0x0f;//取电池温度9-12位，放入高4位

	Jiaoyan=0;
	for(i=6;i<56;i++)
	{
		Jiaoyan+=All_Data_Package[i];
	}
	All_Data_Package[56]=Jiaoyan;
	All_Data_Package[57]=Jiaoyan>>8;

	//以下存储故障现场数据
	All_Data_Package[58]=0xaa;//代表一帧的开始
	All_Data_Package[59]=0x1E;//代表该帧数据为故障帧数据
	All_Data_Package[60]=Charger_ID;
	All_Data_Package[61]=~Charger_ID;
	All_Data_Package[62]=Fault_Type;
	All_Data_Package[63]=Vot_Limit_Trans;
	All_Data_Package[64]=Cur_Limit_Trans;
	All_Data_Package[65]=(Vot_Limit_Trans>>4)&0xf0;
	All_Data_Package[65]+=(Cur_Limit_Trans>>8)&0x0f;
	All_Data_Package[66]=Field_Cur_Trans_AC;
	All_Data_Package[67]=Field_Duty_Trans_Inverter;
	All_Data_Package[68]=(Field_Cur_Trans_AC>>4)&0xf0;
	All_Data_Package[68]+=(Field_Duty_Trans_Inverter>>8)&0x0f;
	All_Data_Package[69]=Field_Vot_Trans_DC;
	All_Data_Package[70]=Field_Cur_Trans_DC;
	All_Data_Package[71]=(Field_Vot_Trans_DC>>4)&0xf0;
	All_Data_Package[71]+=(Field_Cur_Trans_DC>>8)&0x0f;
	All_Data_Package[72]=Field_Temp_Trans_MOS;
	Field_Freq_Value=Freq_Value;
	All_Data_Package[73]=Field_Freq_Value;
	All_Data_Package[74]=(Field_Freq_Value>>8)&0x0f;
	All_Data_Package[75]=(Field_Temp_Trans_MOS>>8)&0x0f;

	All_Data_Package[82]=Field_Vot_Rec_Battery;
	All_Data_Package[83]=Field_Cur_Rec_Battery;
	All_Data_Package[84]=(Field_Vot_Rec_Battery>>4)&0xf0;
	All_Data_Package[84]+=(Field_Cur_Rec_Battery>>8)&0x0f;
	All_Data_Package[85]=Temp_Rec_Battery;
	All_Data_Package[86]=(Temp_Rec_Battery>>8)&0x0f;

	Jiaoyan=0;
	for(i=62;i<87;i++)
	{
		Jiaoyan+=All_Data_Package[i];
	}
	All_Data_Package[87]=Jiaoyan;
	All_Data_Package[88]=Jiaoyan>>8;
}

//状态信息打包
void State_Data_Trans_Packing(void)
{
	uint8_t i,temp;

	State_Data_Package[0]=0xaa;//代表一帧的开始
	State_Data_Package[1]=0x2D;//代表该帧数据为状态帧数据
	State_Data_Package[2]=Charger_ID;
	State_Data_Package[3]=~Charger_ID;
	State_Data_Package[4]=Charger_State;
	State_Data_Package[5]=~Charger_State;
	State_Data_Package[6]=Bike_ID;
	State_Data_Package[7]=Bike_ID>>8;
	State_Data_Package[8]=Bike_ID>>16;
	State_Data_Package[9]=Bike_ID>>24;

	temp=0;
	for(i=6;i<10;i++)
	{
		temp+=State_Data_Package[i];
	}

	State_Data_Package[10]=temp;
}
//电压及电流限值信息打包
void Limit_Data_Trans_Packing(void)
{
	uint8_t i,Jiaoyan;

	Limit_Data_Package[0]=0xaa;//代表一阵的开始
	Limit_Data_Package[1]=0x3C;
	Limit_Data_Package[2]=Charger_ID;
	Limit_Data_Package[3]=~Charger_ID;
	Limit_Data_Package[4]=Vot_Limit_Trans;
	Limit_Data_Package[5]=(Vot_Limit_Trans>>8)&0x0f;
	Limit_Data_Package[6]=Cur_Limit_Trans;
	Limit_Data_Package[7]=(Cur_Limit_Trans>>8)&0x0f;
	Limit_Data_Package[8]=Relay_State;
	Limit_Data_Package[9]=~Relay_State;

	Jiaoyan=0;
	for(i=4;i<8;i++)
	{
		Jiaoyan+=Limit_Data_Package[i];
	}
	Limit_Data_Package[10]=Jiaoyan;
}

//频率信息打包
void Frequency_Data_Trans_Packing(void)
{
	uint8_t i,Jiaoyan;

	Frequency_Data_Package[0]=0xAA;
	Frequency_Data_Package[1]=0x4B;
	Frequency_Data_Package[2]=Charger_ID;
	Frequency_Data_Package[3]=~Charger_ID;
	Frequency_Data_Package[4]=Frequency_Scan_State;
	Frequency_Data_Package[5]=Cur_Trans_DC;
	Frequency_Data_Package[6]=(Cur_Trans_DC>>8)&0x0f;//取电流值的9-12位，放入低4位

	Fre_Trans_Inverter=Freq_Value-Frequency_Scan_Delt;
	Frequency_Data_Package[7]=Fre_Trans_Inverter;
	Frequency_Data_Package[8]=(Fre_Trans_Inverter>>8)&0x0f;//频率有效位为12位，即4095以内
	Frequency_Data_Package[9]=0;

	Jiaoyan=0;
	for(i=5;i<10;i++)
	{
		Jiaoyan+=Frequency_Data_Package[i];
	}
	Frequency_Data_Package[10]=Jiaoyan;
}

void Frequency_Scan(void)
{
	//初始化扫频结果：最大电流值、最大电流值对应的频率值，都设为0
	Max_Cur_Trans_DC=0;
	Max_Cur_Trans_Frequency=0;
	Frequency_Scan_State=0;//初始化扫频状态，未开始扫频
	//开启PWM波
	HAL_TIM_PWM_Start(&htim1,TIM_CHANNEL_2);
	HAL_TIMEx_PWMN_Start(&htim1,TIM_CHANNEL_2);

	for(Freq_Value=Frequency_Start;;)
	{
		TIM1->ARR=Freq_Value;
	  htim1.Instance->CCR2=Freq_Value/Duty_Scan_Coeff;//按指定占空比扫频
		if(Trans_OverCurrent_Alert)
		{
			Trans_OverCurrent_Alert_Read=1;//已阅读告警标志
			TIM1->ARR=0xffff;//重装载寄存器填满，降低频率
	    HAL_TIM_Base_Stop(&htim1);
			HAL_TIM_PWM_Stop(&htim1,TIM_CHANNEL_2);
			//中断中已关闭占空比，此处无需再次关闭
			Charger_Start_Permission=0;//允许充电标志置0，调整完毕后，再次下发指令
			Charger_State|=0x01;//出现问题事件，可修复，再次下发指令时清零
			if(Fault_Type<FaultLevel_CurOver_Short)
			{
				Fault_Type=FaultLevel_CurOver_Short;
				Fault_Field_Save();
			}
			Freq_Value=0xffff;//保存现场后，再改变变量值
			Frequency_Scan_State=0x2d;
			Charger_State&=0x9F;//扫频结束，对第七和第六位进行清零
			return;//退出函数，避免死循环，不设置状态转换，主程序循环中不切换状态
		}
		else
		{
			HAL_Delay(20);
			if(Cur_Trans_DC>Max_Cur_Trans_DC)
			{
				Max_Cur_Trans_DC=Cur_Trans_DC;
				Max_Cur_Trans_Frequency=Freq_Value;
			}

			Frequency_Scan_State=0x1E;//正常扫频状态

			//判断扫频过流，如果扫频过流，说明停放距离较远，拒绝充电
			if(Cur_Trans_DC>Frequency_Scan_CurLimit)
			{
				//该扫频过流是指：电流未达到很大的极限值，但超出正常扫频可能的值，出现的原因是车辆停放过远，或其他问题，近似无负载
				Duty_Trans_Inverter=0;
				htim1.Instance->CCR2=Duty_Trans_Inverter;//先设置占空比为零
				Frequency_Scan_State=0x2D;

				TIM1->ARR=0xffff;//将重装载寄存器填满，降低频率值
	      HAL_TIM_Base_Stop(&htim1);
				HAL_TIM_PWM_Stop(&htim1,TIM_CHANNEL_2);
				Charger_State|=0x01;//出现问题事件（可修复），最低位置1，该标志位在每次下指令启动系统时清零
				if(Fault_Type<FaultLevel_FreqScanError)//扫频过流故障等级为4，在当前故障优先级小于4时，可更新故障类型及故障现场
				{
					Fault_Type=FaultLevel_FreqScanError;//要保存故障现场
					Fault_Field_Save();
				}
				Freq_Value=0xffff;

				Charger_Start_Permission=0;//清零充电允许标志，调整完毕后，重新下发指令再次开启
				Charger_State&=0x9F;//扫频结束，对第七和第六位进行清零
				return;
			}
			Freq_Value+=Frequency_Scan_Delt;//降低频率值

			if(Freq_Value>Frequency_Stop)//表示正常完成了扫频
			{
				Frequency_Scan_State=0xf0;//0xf0表示扫频正常完成
				Charging_Preparing();
				return;
			}
		}
	}
}

void Frequency_Scan485(void)
{
	//初始化扫频结果：最大电流值、最大电流值对应的频率值，都设为0
	Max_Cur_Trans_DC=0;
	Max_Cur_Trans_Frequency=0;
	Frequency_Scan_State=0;//初始化扫频状态，未开始扫频
	//开启PWM波
	HAL_TIM_PWM_Start(&htim1,TIM_CHANNEL_2);
	HAL_TIMEx_PWMN_Start(&htim1,TIM_CHANNEL_2);

	for(Freq_Value=Frequency_Start;;)
	{
		TIM1->ARR=Freq_Value;
	  htim1.Instance->CCR2=Freq_Value/2;

		if(Trans_OverCurrent_Alert)
		{
			Trans_OverCurrent_Alert_Read=1;//已阅读告警标志
			TIM1->ARR=0xffff;//将重装载寄存器填满，降低频率值
	    HAL_TIM_Base_Stop(&htim1);
			HAL_TIM_PWM_Stop(&htim1,TIM_CHANNEL_2);
			Charger_Start_Permission=0;//允许充电标志置0，调整完毕后，再次下发指令
			Charger_State|=0x01;//出现问题事件，可修复，再次下发指令时清零
			if(Fault_Type<FaultLevel_CurOver_Short)
			{
				Fault_Type=FaultLevel_CurOver_Short;
				Fault_Field_Save();
			}
			Freq_Value=0xffff;

			Frequency_Scan_State=0x2d;//设置扫频出错标志
			Trans_485_En();
			Frequency_Data_Trans_Packing();
			HAL_UART_Transmit_DMA(&huart3,Frequency_Data_Package,sizeof(Frequency_Data_Package));
			return;//退出函数，避免死循环，不设置状态转换，主程序循环中不切换状态
		}
		else
		{
			HAL_Delay(20);
			if(Cur_Trans_DC>Max_Cur_Trans_DC)
			{
				Max_Cur_Trans_DC=Cur_Trans_DC;
				Max_Cur_Trans_Frequency=Freq_Value;
			}

			Frequency_Scan_State=0x1E;//正常扫频状态

			//判断扫频过流，如果扫频过流，说明停放距离较远，拒绝充电
			if(Cur_Trans_DC>Frequency_Scan_CurLimit)
			{
				//该扫频过流是指：电流未达到很大的极限值，但超出正常扫频可能的值，出现的原因是车辆停放过远，或其他问题，近似无负载
				Frequency_Scan_State=0x2D;//设置扫频出错标志
				Duty_Trans_Inverter=0;
				htim1.Instance->CCR2=Duty_Trans_Inverter;//先设置占空比为零
				TIM1->ARR=0xffff;//将重装载寄存器填满，降低频率值
	      HAL_TIM_Base_Stop(&htim1);
				HAL_TIM_PWM_Stop(&htim1,TIM_CHANNEL_2);
				Charger_State|=0x01;//出现问题事件（可修复），最低位置1，该标志位在每次下指令启动系统时清零
				if(Fault_Type<FaultLevel_FreqScanError)//扫频过流故障等级为4，在当前故障优先级小于4时，可更新故障类型及故障现场
				{
					Fault_Type=FaultLevel_FreqScanError;//要保存故障现场
					Fault_Field_Save();
				}
				Freq_Value=0xffff;
				Trans_485_En();
				Frequency_Data_Trans_Packing();
				HAL_UART_Transmit_DMA(&huart3,Frequency_Data_Package,sizeof(Frequency_Data_Package));
				return;
			}
			Freq_Value+=Frequency_Scan_Delt;//增加频率值

			if(Freq_Value>Frequency_Stop)//表示正常完成了扫频
			{
				Frequency_Scan_State=0xf0;//0xf0表示扫频正常完成
			}
			Trans_485_En();
			Frequency_Data_Trans_Packing();
			HAL_UART_Transmit_DMA(&huart3,Frequency_Data_Package,sizeof(Frequency_Data_Package));
			if(Frequency_Scan_State==0xf0)
				return;
		}
	}
}

//充电准备
void Charging_Preparing()
{
	Power_Trans_Refer=Power_Trans_Refer_Waiting;

	//设置频率值
	Freq_Value=Max_Cur_Trans_Frequency-Frequency_Waiting_Delt;
  TIM1->ARR=Freq_Value;

	//设置状态转换，转换为充电状态
	Charger_State|=0x60;//第七和第六位置1，|=0110 0000
	//设置红外等待计数，一开始就处于等待红外充电信息状态，当接收到充电信息后，Infrared_Charging_Waiting_Cnt自会被清零
	Infrared_Waiting_Second_Cnt=3001;

	//充电完成计数清零
	Charging_ComptCnt=0;
	//低效率计数清零
	Low_Efficiency_Cnt=0;
}

void Charging_Stopping()
{
	Charger_Start_Permission=0;//允许充电置0，再次充电则再次下发指令
	Charger_State&=0x1f;//&=0001 1111，清零第6-7位，设为停止态，同时清零车辆检测标志，等待红外编号再次到来

	//占空比设为0
	Duty_Trans_Inverter=0;
	htim1.Instance->CCR2=Duty_Trans_Inverter;
	//频率设为较大值
	Freq_Value=0xffff;
	TIM1->ARR=Freq_Value;//重装载寄存器填满，降低频?
	HAL_TIM_PWM_Stop(&htim1,TIM_CHANNEL_2);
}

//FLASH读数据函数
uint32_t ReadFlash(uint32_t Address)
{
	uint32_t Result;
	Result=*(__IO uint32_t*)(Address);
	return Result;
}
//FLASH写数据函数
void WriteFlash(uint32_t Address)
{
	//FLASH存储操作，对于Stm32F103RCT6，其内存大小为256K，共128页，每页2K
	FLASH_EraseInitTypeDef Flash;
	uint32_t PageError;

	HAL_FLASH_Unlock();//解锁写保护
	//定义擦除对象
	Flash.TypeErase=FLASH_TYPEERASE_PAGES;
	Flash.PageAddress=FLASH_RW_StartAddress;
	Flash.NbPages=1;
	//设置PageError
	PageError=0;//0xFFFFFFFF means that all the pages have been correctly erased
	//调用擦除函数
	HAL_FLASHEx_Erase(&Flash,&PageError);
	//烧写FLASH
	HAL_FLASH_Program(FLASH_TYPEPROGRAM_HALFWORD,Address,Charger_ID);
	HAL_FLASH_Lock();
}

//故障现场保护
void Fault_Field_Save()
{
	Field_Cur_Trans_AC=Cur_Trans_AC;
	Field_Duty_Trans_Inverter=Duty_Trans_Inverter;
	Field_Vot_Trans_DC=Vot_Trans_DC;
	Field_Cur_Trans_DC=Cur_Trans_DC;
	Field_Temp_Trans_MOS=Temp_Trans_MOS;
	Field_Freq_Value=Freq_Value;

	Field_Vot_Rec_Battery=Vot_Rec_Battery;
	Field_Cur_Rec_Battery=Cur_Rec_Battery;
	Field_Temp_Rec_Battery=Temp_Rec_Battery;

}

/* USER CODE END 4 */

void Error_Handler(void)
{
  while(1)
  {
  }
}

/************************ (C) COPYRIGHT STMicroelectronics *****END OF FILE****/
